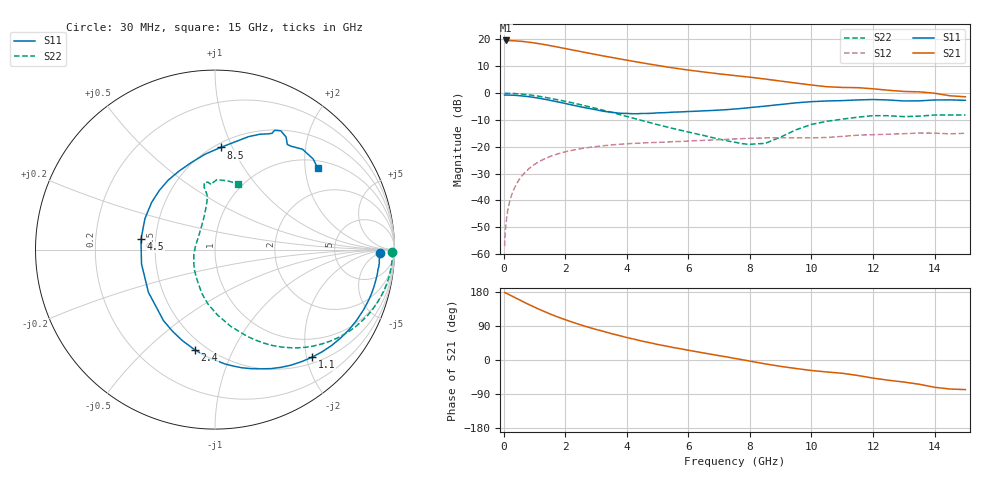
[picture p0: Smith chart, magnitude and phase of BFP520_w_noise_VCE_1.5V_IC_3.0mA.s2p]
! Infineon Technologies  Discrete & RF Semiconductors
! BFP520
! VCE =  1.5 V,  IC =  3.0 mA
! Common Emitter S-Parameters:  Oct 2015
# GHz  S  MA  R  50
!  f  S11  S21  S12  S22
! GHz  MAG  ANG  MAG  ANG  MAG  ANG  MAG  ANG
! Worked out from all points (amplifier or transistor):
!   109 points, 30 MHz to 15 GHz, reference 50 ohm
!   highest |S21| = 19.6 dB at 70 MHz (marker M1)
!   |S21| within 3 dB of that: start of sweep to 1.998 GHz
!   unconditionally stable (mu >= 1): 4.668 GHz to end of sweep
!   at 450 MHz: K = 0.07, MSG = 26.3 dB, |S12| = -33.2 dB
!   at 4 GHz: K = 0.86, MSG = 15.6 dB, |S12| = -18.9 dB
!   at 15 GHz: K = 1.52, MAG = 2.5 dB, |S12| = -15.0 dB
!   lowest NFmin = 1.02 dB at 900 MHz
!   S11 on the Smith chart (normalised r, x): 30 MHz: 22, -6; 1.1 GHz: 0.61, -2.10; 2.4 GHz: 0.44, -0.72; 4.5 GHz: 0.41, +0.06; 8.5 GHz: 0.53, +0.90; 15 GHz: 1.19, +2.33
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0.03  0.918 -1.3  9.532 178.5  0.0014 91.5  0.988 -0.8
0.07  0.9172 -3.0  9.535 176.5  0.0035 85.9  0.9891 -2.0
0.2  0.9146 -8.8  9.481 171.5  0.0098 85.5  0.9861 -5.8
0.5  0.893 -22.0  9.247 159.3  0.0242 78.5  0.965 -14.6
0.8  0.8559 -35.1  8.864 147.0  0.038 71.3  0.9272 -23.1
1.1  0.8075 -48.0  8.387 135.7  0.0507 64.5  0.8768 -31.1
1.3  0.7713 -56.5  8.032 128.6  0.0584 60.1  0.8393 -36.1
1.6  0.7116 -69.0  7.471 118.4  0.0686 54.1  0.7792 -43.1
2  0.6387 -85.2  6.747 106.3  0.0801 46.8  0.7002 -51.5
2.4  0.5696 -101.4  6.079 95.3  0.0895 40.4  0.6238 -59.0
2.6  0.5391 -109.6  5.768 90.1  0.0936 37.5  0.587 -62.5
3  0.4885 -126.1  5.213 80.6  0.1007 32.1  0.5166 -69.5
3.5  0.4406 -147.4  4.616 69.5  0.1079 25.9  0.4367 -78.4
4  0.4172 -168.9  4.097 59.2  0.1133 20.3  0.3658 -87.7
4.5  0.4165 172.0  3.65 49.7  0.1172 15.5  0.3063 -97.3
5.1  0.4278 153.5  3.198 39.5  0.1209 10.8  0.249 -107.6
6.1  0.4542 131.5  2.634 24.3  0.1281 4.2  0.1819 -125.6
7.6  0.5082 103.2  2.086 3.0  0.14 -5.7  0.1182 -170.1
8.5  0.5703 86.8  1.819 -10.3  0.1457 -12.6  0.1154 143.8
10.5  0.7113 65.1  1.31 -31.6  0.1484 -22.8  0.2976 98.0
13  0.711 55.5  1.07 -58.2  0.1746 -39.5  0.3631 93.3
15  0.731 38.6  0.85 -78.1  0.1779 -53.6  0.3882 70.7
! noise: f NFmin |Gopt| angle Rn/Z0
0.45  1.06  0.59  3  0.37
0.9  1.02  0.55  12  0.38
1.9  1.29  0.46  25  0.32
2.4  1.36  0.42  36  0.31
3.5  1.32  0.41  61  0.28
